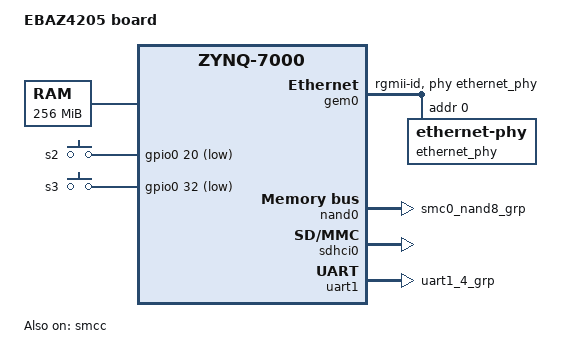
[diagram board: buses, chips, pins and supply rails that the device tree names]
// SPDX-License-Identifier: GPL-2.0+
/*
 *  Copyright (C) 2011 - 2015 Xilinx
 *  Copyright (C) 2012 National Instruments Corp.
 */
/dts-v1/;
#include "zynq-7000.dtsi"

/ {
	model = "EBAZ4205 board";
	compatible = "xlnx,zynq-EBAZ4205", "xlnx,zynq-7000";

	aliases {
		ethernet0 = &gem0;
		serial0 = &uart1;
		mmc0 = &sdhci0;
	};

	memory@0 {
		device_type = "memory";
		reg = <0x0 0x10000000>;
	};

	chosen {
		bootargs = "";
		stdout-path = "serial0:115200n8";
	};

	gpio-keys {
		compatible = "gpio-keys";
		autorepeat;

		s2 {
			label = "s2";
			gpios = <&gpio0 20 1>;
			linux,code = <102>;
			wakeup-source;
			autorepeat;
		};

		s3 {
			label = "s3";
			gpios = <&gpio0 32 1>;
			linux,code = <116>;
			wakeup-source;
			autorepeat;
		};
	};
};

&clkc {
	ps-clk-frequency = <33333333>;
};

&gem0 {
	status = "okay";
	phy-mode = "rgmii-id";
	phy-handle = <&ethernet_phy>;

	ethernet_phy: ethernet-phy@0 {
		reg = <0>;
		device_type = "ethernet-phy";
	};
};

&smcc {
    status = "okay";
};

&nand0 {
    status = "okay";
    pinctrl-names = "default";
    pinctrl-0 = <&pinctrl_nand0_default>;
    partition@0 {
        label = "nand-fsbl-uboot";
        reg = <0x0 0x300000>;
    };
    partition@1 {
        label = "nand-linux";
        reg = <0x300000 0x500000>;
    };
    partition@2 {
        label = "nand-device-tree";
        reg = <0x800000 0x20000>;
    };
    partition@3 {
        label = "nand-rootfs";
        reg = <0x820000 0xa00000>;
    };
    partition@4 {
        label = "nand-jffs2";
        reg = <0x1220000 0x1000000>;
    };
    partition@5 {
        label = "nand-bitstream";
        reg = <0x2220000 0x800000>;
    };
    partition@6 {
        label = "nand-allrootfs";
        reg = <0x2a20000 0x4000000>;
    };
    partition@7 {
        label = "nand-release";
        reg = <0x6a20000 0x13e0000>;
    };
    partition@8 {
        label = "nand-reserve";
        reg = <0x7e00000 0x200000>;
    };
};

&pinctrl0 {
    pinctrl_nand0_default: nand0-default {
        mux {
            groups = "smc0_nand8_grp";
            function = "smc0_nand";
        };

        conf {
            groups = "smc0_nand8_grp";
            bias-pull-up;
        };
    };

	pinctrl_uart1_default: uart1-default {
		mux {
			groups = "uart1_4_grp";
			function = "uart1";
		};

		conf {
			groups = "uart1_4_grp";
			slew-rate = <0>;
			io-standard = <3>;
		};
	};
};

&sdhci0 {
	u-boot,dm-pre-reloc;
	status = "okay";
};

&uart1 {
	u-boot,dm-pre-reloc;
	status = "okay";
	pinctrl-names = "default";
	pinctrl-0 = <&pinctrl_uart1_default>;
};
